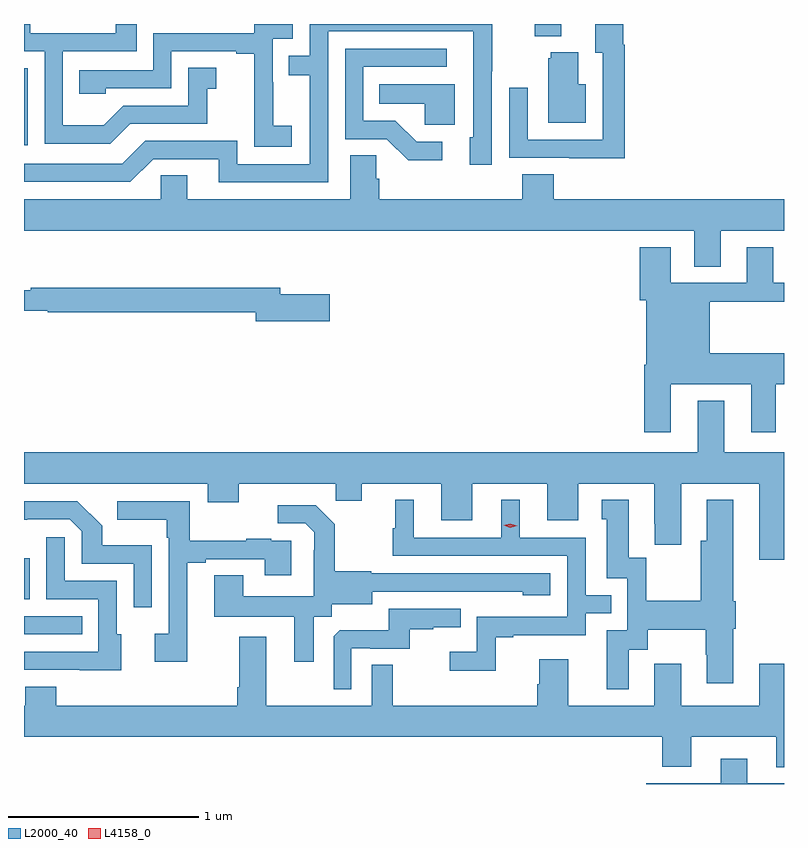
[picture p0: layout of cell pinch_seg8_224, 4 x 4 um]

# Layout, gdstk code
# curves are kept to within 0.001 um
import gdstk
lib = gdstk.Library(unit=1e-6, precision=1e-09)
def R(c, l, rs):  # rectangles x0, y0, x1, y1
    for r in rs: c.add(gdstk.rectangle(r[:2], r[2:], *l))
def P(c, l, *ps):  # polygons
    for p in ps: c.add(gdstk.Polygon(p, *l))
L2000_40 = (2000, 40)
L4158_0 = (4158, 0)

pinch_seg8_224 = lib.new_cell('pinch_seg8_224')
R(pinch_seg8_224, L2000_40, [(692.705,1113.042,693.011,1113.138), (692.705,1113.227,692.734,1113.442), (692.705,1115.616,692.724,1116.021), (695.393,1116.191,695.533,1116.255)])
P(pinch_seg8_224, L2000_40, [(695.867,1116.146),(695.86,1116.146),(695.86,1116.255),(695.711,1116.255),(695.711,1116.103),(695.751,1116.103),(695.751,1115.646),(695.355,1115.646),(695.355,1115.92),(695.259,1115.92),(695.259,1115.55),(695.575,1115.55),(695.575,1115.549),(695.867,1115.549)],
  [(694.114,1115.719),(694.016,1115.719),(694.016,1115.948),(694.014,1115.948),(694.014,1116.177),(694.119,1116.177),(694.119,1116.255),(693.918,1116.255),(693.918,1116.207),(693.384,1116.207),(693.384,1116.012),(692.995,1116.012),(692.995,1115.889),(693.135,1115.889),(693.135,1115.916),(693.48,1115.916),(693.48,1116.111),(693.821,1116.111),(693.821,1116.099),(693.917,1116.099),(693.917,1115.815),(693.916,1115.815),(693.916,1115.609),(694.114,1115.609)],
  [(693.265,1115.73),(693.669,1115.73),(693.669,1115.915),(693.718,1115.915),(693.718,1116.025),(693.57,1116.025),(693.57,1115.826),(693.228,1115.826),(693.124,1115.722),(692.91,1115.722),(692.91,1116.111),(693.299,1116.111),(693.299,1116.255),(693.188,1116.255),(693.188,1116.207),(692.737,1116.207),(692.737,1116.255),(692.705,1116.255),(692.705,1116.111),(692.814,1116.111),(692.814,1115.625),(693.16,1115.625)],
  [(694.305,1116.216),(695.069,1116.216),(695.07,1115.658),(695.051,1115.658),(695.051,1115.514),(695.166,1115.514),(695.166,1116.007),(695.169,1116.007),(695.169,1116.255),(694.209,1116.255),(694.209,1116.087),(694.099,1116.087),(694.099,1115.986),(694.209,1115.986),(694.209,1115.517),(693.828,1115.517),(693.828,1115.64),(693.342,1115.64),(693.222,1115.52),(692.705,1115.52),(692.705,1115.424),(693.264,1115.424),(693.384,1115.544),(693.731,1115.544),(693.731,1115.421),(694.305,1115.421)],
  [(694.906,1115.634),(694.771,1115.634),(694.66,1115.745),(694.491,1115.745),(694.491,1116.03),(694.93,1116.03),(694.93,1116.126),(694.395,1116.126),(694.395,1115.649),(694.614,1115.649),(694.727,1115.537),(694.906,1115.537)],
  [(695.662,1115.938),(695.623,1115.938),(695.623,1116.106),(695.477,1116.106),(695.477,1116.075),(695.465,1116.075),(695.465,1115.735),(695.662,1115.735)],
  [(694.972,1115.938),(694.576,1115.938),(694.576,1115.834),(694.815,1115.834),(694.815,1115.726),(694.972,1115.726)],
  [(696.373,1115.168),(696.705,1115.168),(696.705,1115.332),(695.492,1115.332),(695.492,1115.465),(695.327,1115.465),(695.327,1115.332),(694.574,1115.332),(694.574,1115.441),(694.56,1115.441),(694.56,1115.564),(694.421,1115.564),(694.421,1115.332),(693.565,1115.332),(693.565,1115.459),(693.426,1115.459),(693.426,1115.332),(692.705,1115.332),(692.705,1115.168),(696.233,1115.168),(696.233,1114.978),(696.373,1114.978)],
  [(696.109,1114.358),(696.533,1114.358),(696.533,1114.107),(696.661,1114.107),(696.661,1114.358),(696.705,1114.358),(696.705,1114.522),(696.313,1114.522),(696.313,1114.792),(696.705,1114.792),(696.705,1114.893),(696.649,1114.893),(696.649,1115.08),(696.509,1115.08),(696.509,1114.893),(696.109,1114.893),(696.109,1115.08),(695.945,1115.08),(695.945,1114.8),(695.981,1114.8),(695.981,1114.462),(695.969,1114.462),(695.969,1114.107),(696.109,1114.107)],
  [(694.315,1114.833),(694.054,1114.833),(694.054,1114.867),(692.74,1114.867),(692.74,1114.854),(692.705,1114.854),(692.705,1114.746),(692.83,1114.746),(692.83,1114.738),(693.926,1114.738),(693.926,1114.691),(694.315,1114.691)],
  [(696.705,1114),(696.391,1114),(696.391,1114.273),(696.251,1114.273),(696.251,1114),(692.705,1114),(692.705,1113.836),(693.671,1113.836),(693.671,1113.737),(693.835,1113.737),(693.835,1113.836),(694.345,1113.836),(694.345,1113.746),(694.483,1113.746),(694.483,1113.836),(694.901,1113.836),(694.901,1113.642),(695.065,1113.642),(695.065,1113.836),(695.459,1113.836),(695.459,1113.642),(695.623,1113.642),(695.623,1113.836),(696.023,1113.836),(696.023,1113.625),(696.025,1113.625),(696.025,1113.513),(696.163,1113.513),(696.163,1113.836),(696.575,1113.836),(696.575,1113.435),(696.705,1113.435)],
  [(695.187,1113.027),(695.281,1113.027),(695.281,1113.039),(695.661,1113.039),(695.661,1113.153),(695.795,1113.153),(695.795,1113.249),(695.661,1113.249),(695.661,1113.552),(695.314,1113.552),(695.314,1113.751),(695.216,1113.751),(695.216,1113.552),(694.756,1113.552),(694.756,1113.751),(694.658,1113.751),(694.658,1113.6),(694.647,1113.6),(694.647,1113.456),(695.565,1113.456),(695.565,1113.135),(695.088,1113.135),(695.088,1112.95),(694.947,1112.95),(694.947,1112.852),(695.187,1112.852)],
  [(695.887,1112.962),(695.989,1112.962),(695.989,1113.068),(696.292,1113.068),(696.292,1112.934),(696.299,1112.934),(696.299,1112.784),(696.439,1112.784),(696.439,1113.072),(696.452,1113.072),(696.452,1113.216),(696.439,1113.216),(696.439,1113.751),(696.299,1113.751),(696.299,1113.535),(696.266,1113.535),(696.266,1113.22),(695.98,1113.22),(695.98,1113.445),(695.887,1113.445),(695.887,1113.751),(695.747,1113.751),(695.747,1113.648),(695.771,1113.648),(695.771,1113.339),(695.88,1113.339),(695.88,1113.063),(695.771,1113.063),(695.771,1112.754),(695.887,1112.754)],
  [(693.565,1113.42),(693.661,1113.42),(693.661,1113.438),(693.971,1113.438),(693.971,1113.354),(694.111,1113.354),(694.111,1113.534),(694.007,1113.534),(694.007,1113.547),(693.875,1113.547),(693.875,1113.536),(693.577,1113.536),(693.577,1113.744),(693.195,1113.744),(693.195,1113.647),(693.456,1113.647),(693.456,1113.551),(693.468,1113.551),(693.468,1113.046),(693.393,1113.046),(693.393,1112.898),(693.565,1112.898)],
  [(693.378,1113.511),(693.117,1113.511),(693.117,1113.614),(692.986,1113.744),(692.705,1113.744),(692.705,1113.647),(692.946,1113.648),(693.009,1113.585),(693.009,1113.414),(693.282,1113.414),(693.282,1113.186),(693.378,1113.186)],
  [(694.231,1113.136),(694.326,1113.136),(694.326,1113.2),(694.537,1113.2),(694.537,1113.267),(695.331,1113.266),(695.331,1113.248),(695.476,1113.248),(695.476,1113.363),(694.533,1113.363),(694.533,1113.376),(694.341,1113.376),(694.341,1113.621),(694.241,1113.721),(694.041,1113.721),(694.041,1113.627),(694.185,1113.627),(694.232,1113.58),(694.232,1113.485),(694.23,1113.485),(694.23,1113.244),(693.859,1113.244),(693.859,1113.353),(693.707,1113.353),(693.707,1113.134),(694.127,1113.134),(694.127,1112.898),(694.231,1112.898)],
  [(693.217,1113.042),(693.192,1113.042),(693.192,1113.324),(692.919,1113.324),(692.919,1113.553),(692.823,1113.553),(692.823,1113.228),(693.096,1113.228),(693.096,1112.952),(692.705,1112.952),(692.705,1112.856),(692.999,1112.856),(692.999,1112.855),(693.217,1112.855)],
  [(694.428,1112.97),(694.528,1112.97),(694.528,1112.967),(694.736,1112.967),(694.736,1113.069),(694.859,1113.069),(694.859,1113.08),(695.003,1113.08),(695.003,1113.177),(694.626,1113.177),(694.626,1113.065),(694.367,1113.065),(694.335,1113.033),(694.335,1112.753),(694.428,1112.753)],
  [(696.705,1112.887),(696.575,1112.887),(696.575,1112.668),(696.163,1112.668),(696.163,1112.887),(696.023,1112.887),(696.023,1112.668),(695.569,1112.668),(695.569,1112.911),(695.417,1112.911),(695.417,1112.781),(695.405,1112.781),(695.405,1112.668),(694.645,1112.668),(694.645,1112.882),(694.536,1112.882),(694.536,1112.668),(693.979,1112.668),(693.979,1113.031),(693.839,1113.031),(693.839,1112.764),(693.827,1112.764),(693.827,1112.668),(692.875,1112.668),(692.875,1112.767),(692.711,1112.767),(692.711,1112.668),(692.705,1112.668),(692.705,1112.504),(696.065,1112.504),(696.065,1112.345),(696.217,1112.345),(696.217,1112.504),(696.665,1112.504),(696.665,1112.344),(696.705,1112.344)],
  [(696.705,1112.259),(696.511,1112.259),(696.511,1112.389),(696.371,1112.389),(696.371,1112.26),(695.981,1112.26),(695.981,1112.255),(696.705,1112.255)])
P(pinch_seg8_224, L4158_0, [(695.265,1113.605),(695.23,1113.616),(695.229,1113.616),(695.23,1113.616),(695.265,1113.625),(695.3,1113.614),(695.301,1113.614),(695.3,1113.614)])

lib.write_gds('pinch_seg8_224.gds')
